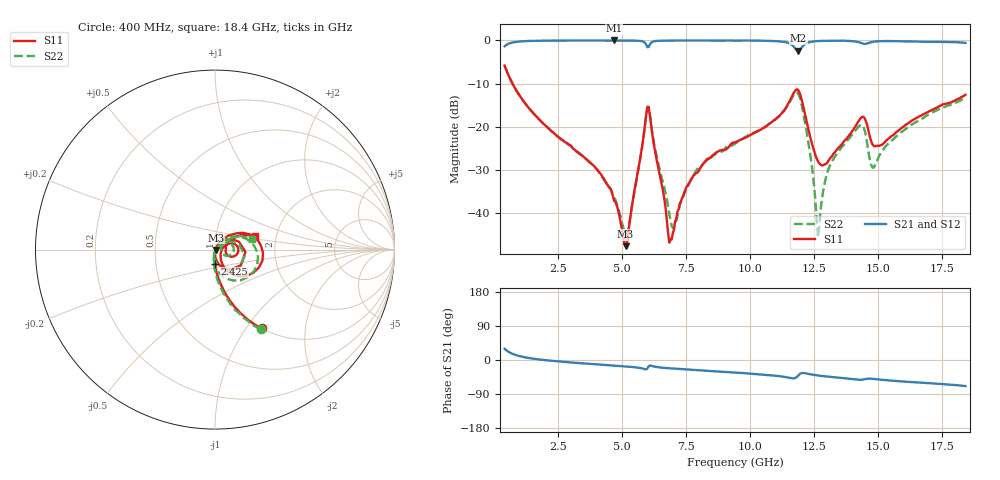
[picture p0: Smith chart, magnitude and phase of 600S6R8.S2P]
!  American Technical Ceramics  Date:  4/26/2005
!  One Norden Lane
!  Huntington Station,  NY.  11746-2102
!  Tel:  (631) 622-4700  Fax:  (631) 622-4748
!  Part Number  600S6R8  Mounting Orientation: Horizontal
!  Description: Ultra Low ESR Microwave capacitors
!  Application: Coupling, Bypass, Tuning, DC Block
!  Filters, Matching
# GHZ S DB R 50
! Freq  |S11|  S11 Ph  |S21|  S21 Ph  |S12|  S12 Ph  |S22|  S22 Ph
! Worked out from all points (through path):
!   401 points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, 400 MHz to 18.4 GHz, reference 50 ohm
!   highest |S21| = -0.01 dB at 4.675 GHz (marker M1); lowest = -2.4 dB at 11.88 GHz (marker M2)
!   group delay of S21, straight-line fit = 11.4 ps
!   lowest |S11| = -47.7 dB at 5.125 GHz (marker M3), VSWR 1.01, Z = 50.4 - j0.152 ohm
!   |S11| at or under -10 dB: 707.6 MHz to end of sweep
!   |S22| runs from -45.6 to -5.8 dB; largest |S21 - S12| = 0.0057
!   S11 on the Smith chart (normalised r, x): 400 MHz: 1.00, -1.19; 2.425 GHz: 0.98, -0.16; 18.4 GHz: 1.54, +0.25
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0.4  -5.83 -59.3  -1.37 29.6  -1.37 29.6  -5.82 -60.3
2.425  -22.00 -91.1  -0.04 -3.3  -0.05 -3.4  -22.05 -94.2
3.415  -26.57 -94.3  -0.03 -8.6  -0.03 -8.7  -26.70 -97.8
4.675  -37.14 -90.4  -0.01 -14.6  -0.01 -14.7  -36.35 -92.5
5.125  -47.67 -21.4  -0.03 -16.9  -0.03 -17.0  -44.82 -35.0
5.98  -15.38 -4.5  -1.56 -22.1  -1.54 -22.1  -15.44 -11.6
6.43  -30.29 -88.7  -0.08 -19.3  -0.09 -19.4  -29.18 -90.2
6.88  -45.96 -19.5  -0.05 -22.0  -0.04 -22.1  -41.56 -60.4
7.06  -41.97 28.9  -0.04 -22.9  -0.04 -23.0  -42.77 -2.9
7.735  -31.77 56.2  -0.02 -26.2  -0.04 -26.3  -31.75 44.7
9.4  -23.61 52.7  -0.06 -33.1  -0.07 -33.2  -23.92 48.6
11.425  -15.23 32.5  -0.47 -45.8  -0.47 -45.7  -15.42 23.2
11.875  -11.56 -22.4  -2.40 -40.6  -2.38 -40.5  -12.42 -39.1
12.415  -24.16 -58.5  -0.27 -38.5  -0.27 -38.6  -29.66 -98.5
12.595  -27.45 -43.1  -0.16 -40.5  -0.17 -40.5  -42.09 -73.0
12.685  -28.46 -32.7  -0.13 -41.3  -0.13 -41.3  -43.77 9.0
13.09  -27.51 9.0  -0.07 -44.3  -0.07 -44.3  -29.18 44.7
14.17  -19.27 17.8  -0.33 -51.6  -0.32 -51.6  -20.35 18.3
14.44  -17.83 -8.3  -0.79 -51.1  -0.79 -51.0  -20.35 -16.6
14.8  -24.32 -11.1  -0.31 -49.9  -0.32 -49.8  -29.52 3.7
15.43  -22.61 23.2  -0.15 -54.0  -0.15 -54.0  -23.70 34.3
18.4  -12.60 19.5  -0.57 -68.8  -0.53 -68.7  -13.30 15.2
